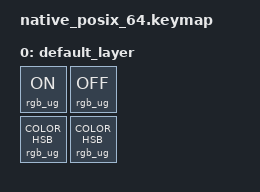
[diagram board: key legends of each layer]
#include <behaviors.dtsi>
#include <dt-bindings/zmk/keys.h>
#include <dt-bindings/zmk/kscan_mock.h>
#include <dt-bindings/zmk/rgb.h>

/ {
    chosen {
        zmk,underglow = &led_stripnize;
    };
    leds:leds {
		compatible = "gpio-leds";
		led0: led_0 {
			gpios = <&gpio0 0 GPIO_ACTIVE_LOW>;
			label = "Red LED";
		};
		led1: led_1 {
			gpios = <&gpio0 1 GPIO_ACTIVE_LOW>;
			label = "Blue LED";
		};
		led2: led_2 {
			gpios = <&gpio0 2 GPIO_ACTIVE_LOW>;
			label = "Green LED";
		};
	};

    led_stripnize: led_stripnize {
        compatible = "zmk,led-stripnize";
        led = <&leds>;
        chain-length = <1>;
    };

    keymap {
        compatible = "zmk,keymap";

        default_layer {
            bindings = <
                &rgb_ug RGB_ON &rgb_ug RGB_OFF
                &rgb_ug RGB_COLOR_HSB(180,100,100) &rgb_ug RGB_COLOR_HSB(0,0,100)
            >;
        };
    };
};


&kscan {
    events = <
        /* RGB_OFF */
        ZMK_MOCK_PRESS(0,1,10)
        ZMK_MOCK_RELEASE(0,1,10)
        /* RGB_ON */
        ZMK_MOCK_PRESS(0,0,10)
        ZMK_MOCK_RELEASE(0,0,10)
        /* G&B */
        ZMK_MOCK_PRESS(1,0,50)
        ZMK_MOCK_RELEASE(1,0,50)
        /* RGB */
        ZMK_MOCK_PRESS(1,1,50)
        ZMK_MOCK_RELEASE(1,1,50)
    >;
};
